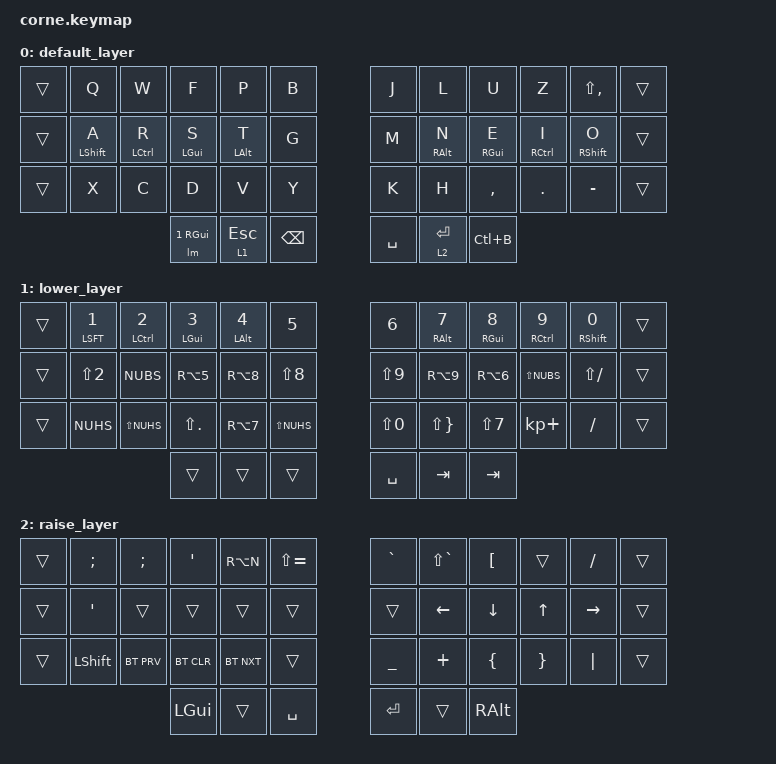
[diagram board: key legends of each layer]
/*
 * Copyright (c) 2020 The ZMK Contributors
 *
 * SPDX-License-Identifier: MIT
 */
#include <behaviors.dtsi>
#include <dt-bindings/zmk/keys.h>
#include <dt-bindings/zmk/bt.h>

/ {
    behaviors {
        hml: home_row_mod_left {
            compatible = "zmk,behavior-hold-tap";
            #binding-cells = <2>;
            flavor = "balanced";
            require-prior-idle-ms = <30>;
            tapping-term-ms = <180>;
            quick-tap-ms = <150>;
            bindings = <&kp>, <&kp>;
            hold-trigger-on-release;
        };
        hmr: home_row_mod_right {
            compatible = "zmk,behavior-hold-tap";
            #binding-cells = <2>;
            flavor = "balanced";
            require-prior-idle-ms = <30>;
            tapping-term-ms = <180>;
            quick-tap-ms = <150>;
            bindings = <&kp>, <&kp>;
            hold-trigger-on-release;
        };
    };
    macros {
        lm: lm {
            compatible = "zmk,behavior-macro-two-param";
            wait-ms = <0>;
            tap-ms = <0>;
            #binding-cells = <2>;
            bindings
            = <&macro_param_1to1>
            , <&macro_press &mo MACRO_PLACEHOLDER>
            , <&macro_param_2to1>
            , <&macro_press &kp MACRO_PLACEHOLDER>
            , <&macro_pause_for_release>
            , <&macro_param_2to1>
            , <&macro_release &kp MACRO_PLACEHOLDER>
            , <&macro_param_1to1>
            , <&macro_release &mo MACRO_PLACEHOLDER>
            ;
        };
    };

    keymap {
        compatible = "zmk,keymap";

        default_layer {
            // -----------------------------------------------------------------------------------------
            // |  |  Q  |  W  |  F  |  P  |  B  |   |  J  |  L   |  U  |  Y  |  ;  |  |
            // |  |  A  |  R  |  S  |  T  |  G  |   |  M  |  N   |  E  |  I  |  O  |  |
            // |  |  X  |  C  |  D  |  V  |  Z  |   |  K  |  H   |  ,  |  .  |  ß  |  |
            //                    |  | ESC | BSPC |   | SPC | ENT  |  |
            bindings = <
                &trans   &kp Q &kp W &kp F &kp P &kp B   &kp J &kp L  &kp U &kp Z   &kp LS(COMMA)    &trans
                &trans &hml LSHFT A &hml LCTRL R &hml LGUI S &hml LALT T &kp G   &kp M &hmr RALT N  &hmr RGUI E     &hmr RCTRL I   &hmr RSHFT O &trans 
                &trans &kp X &kp C &kp D &kp V &kp Y   &kp K &kp H  &kp COMMA &kp DOT &kp MINUS &trans
                &lm 1 RGUI &lt 1 ESC &kp BSPC &kp SPACE &lt 2 RET &kp LC(B) 
            >;
        };
        lower_layer {
            // -----------------------------------------------------------------------------------------
            // |  |  1  |  2  |  3  |  4  |  5  |   |  6  |  7  |  8  |  9  |  0  |  |
            // |  | BT1 | BT2 | BT3 | BT4 | BT5 |   | LFT | DWN |  UP | RGT |     |  |
            // |  |     |     |     |     |     |   |     |     |     |     |     |  |
            //                    | GUI |     | SPC |   | ENT |     | ALT |
            bindings = <
                &trans    &hml LSFT N1       &hml LCTRL N2       &hml LGUI N3       &hml LALT N4       &kp N5         &kp N6   &hmr RALT N7   &hmr RGUI N8 &hmr RCTRL N9    &hmr RSHFT N0 &trans
                &trans &kp LS(N2) &kp NUBS &kp RA(N5) &kp RA(N8) &kp LS(N8)   &kp LS(N9) &kp RA(N9) &kp RA(N6) &kp LS(NUBS) &kp LS(FSLH) &trans
                &trans  &kp NUHS       &kp LS(NUHS)       &kp LS(DOT)       &kp RA(N7)       &kp LS(NUHS)         &kp LS(N0)   &kp LS(RBRC)   &kp LS(N7) &kp KP_PLUS &kp FSLH &trans
                &trans     &trans       &trans      &kp SPACE  &kp TAB   &kp TAB

            >;
        };

        raise_layer {
            // -----------------------------------------------------------------------------------------
            // |  |  !  |  @  |  #  |  $  |  %  |   |  ^  |  &  |  *  |  (  |  )  |  |
            // |  |     |     |     |     |     |   |  -  |  =  |  [  |  ]  |  \  |  |
            // |  |     |     |     |     |     |   |  _  |  +  |  {  |  }  | "|" |  |
            //                    | GUI |     | SPC |   | ENT |     | ALT |
            bindings = <
                &trans  &kp SCLN &kp SCLN &kp QUOT &kp RA(N) &kp LS(EQL)   &kp GRAVE &kp LS(GRAVE)  &kp LBKT &trans &kp FSLH &trans
                &trans &kp QUOT  &trans &trans   &trans   &trans &trans  &kp LEFT &kp DOWN &kp UP  &kp RIGHT &trans
                &trans &kp LSHFT &bt BT_PRV   &bt BT_CLR &bt BT_NXT  &trans      &kp UNDER &kp PLUS  &kp LBRC  &kp RBRC &kp PIPE &trans
                &kp LGUI &trans   &kp SPACE   &kp RET   &trans    &kp RALT
            >;
        };
    };
};
